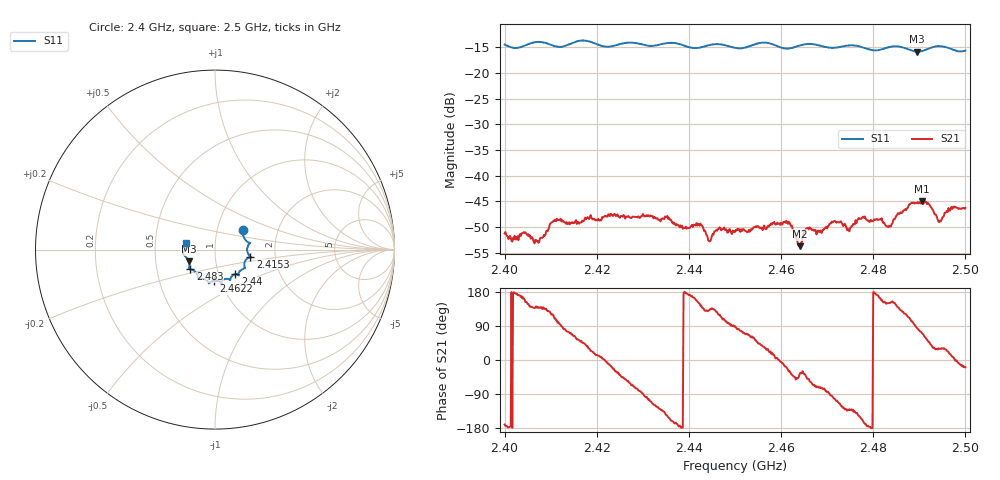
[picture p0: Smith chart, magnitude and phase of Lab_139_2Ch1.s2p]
# Hz S RI R 50
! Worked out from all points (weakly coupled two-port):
!   601 points, 2.4 GHz to 2.5 GHz, reference 50 ohm
!   highest |S21| = -44.99 dB at 2.4905 GHz (marker M1); lowest = -53.7 dB at 2.464 GHz (marker M2)
!   lowest |S11| = -15.9 dB at 2.4895 GHz (marker M3), VSWR 1.38, Z = 36.9 - j5.01 ohm
!   |S11| at or under -10 dB: start of sweep to end of sweep
!   S12 and S22 are empty: the file has one direction only
!   S11 on the Smith chart (normalised r, x): 2.4 GHz: 1.33, +0.29; 2.4153 GHz: 1.48, -0.12; 2.44 GHz: 1.20, -0.34; 2.4622 GHz: 0.93, -0.33; 2.483 GHz: 0.74, -0.17; 2.5 GHz: 0.72, +0.06
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2.4e9  0.1551 0.1067  -0.0027 -0.000466  0 0  0 0
2.407e9  0.1961 0.0382  -0.00171 0.00153  0 0  0 0
2.410833e9  0.1816 0.0157  -0.00122 0.0034  0 0  0 0
2.415333e9  0.1964 -0.0389  0.00173 0.00313  0 0  0 0
2.416667e9  0.2019 -0.0429  0.00226 0.00268  0 0  0 0
2.433333e9  0.131 -0.1337  -0.00213 -0.00306  0 0  0 0
2.44e9  0.1138 -0.1366  -0.00305 0.000483  0 0  0 0
2.4425e9  0.0922 -0.1505  -0.00274 0.00203  0 0  0 0
2.444333e9  0.0853 -0.1652  -0.00152 0.00174  0 0  0 0
2.45e9  0.0648 -0.1629  4.79e-05 0.00283  0 0  0 0
2.462167e9  -0.00723 -0.1739  0.00262 -0.0019  0 0  0 0
2.464e9  -0.0271 -0.1825  0.00161 -0.00128  0 0  0 0
2.466667e9  -0.0342 -0.1877  0.00141 -0.0026  0 0  0 0
2.4715e9  -0.0643 -0.1631  -0.000761 -0.00354  0 0  0 0
2.474667e9  -0.0912 -0.1606  -0.00194 -0.00219  0 0  0 0
2.477667e9  -0.0982 -0.1475  -0.00367 -0.00142  0 0  0 0
2.483e9  -0.1375 -0.1094  -0.00278 0.00159  0 0  0 0
2.483333e9  -0.1401 -0.1092  -0.00273 0.00157  0 0  0 0
2.4895e9  -0.1465 -0.0661  0.000554 0.00537  0 0  0 0
2.4905e9  -0.154 -0.0523  0.00175 0.00535  0 0  0 0
2.494333e9  -0.1806 -0.0218  0.00306 0.00174  0 0  0 0
2.5e9  -0.1599 0.0392  0.00457 -0.00159  0 0  0 0
